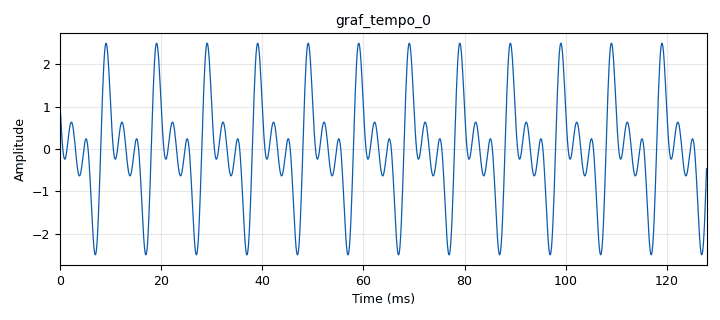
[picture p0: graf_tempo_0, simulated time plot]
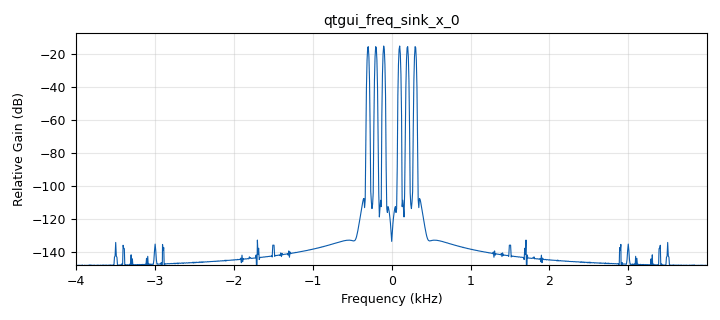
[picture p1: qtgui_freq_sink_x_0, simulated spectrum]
<?xml version='1.0' encoding='utf-8'?>
<?grc format='1' created='3.7.13'?>
<flow_graph>
<block>
<key>options</key>
<param><key>id</key><value>Labo1_2</value></param>
<param><key>author</key><value>Leocarlos Bezerra da Silva Lima</value></param>
<param><key>category</key><value>Custom</value></param>
<param><key>description</key><value>Experimento para Laboratório de Princípios de Comunicações. Departamento de Engenharia Elétrica - DEE da Universidade Federal de Campina Grande - UFCG.</value></param>
<param><key>generate_options</key><value>qt_gui</value></param>
<param><key>title</key><value>Geracao de sinal a partir de sua serie de Fourier</value></param>
</block>
<block>
<key>variable</key>
<param><key>id</key><value>samp_rate</value></param>
<param><key>value</key><value>8000</value></param>
</block>
<block>
<key>blocks_throttle</key>
<param><key>id</key><value>blocks_throttle_0</value></param>
<param><key>samples_per_second</key><value>samp_rate</value></param>
<param><key>type</key><value>float</value></param>
</block>
<block>
<key>analog_sig_source_x</key>
<param><key>id</key><value>fundamental</value></param>
<param><key>amp</key><value>1.0</value></param>
<param><key>freq</key><value>100</value></param>
<param><key>offset</key><value>0</value></param>
<param><key>type</key><value>float</value></param>
<param><key>samp_rate</key><value>samp_rate</value></param>
<param><key>waveform</key><value>analog.GR_SIN_WAVE</value></param>
</block>
<block>
<key>qtgui_time_sink_x</key>
<param><key>id</key><value>graf_tempo_0</value></param>
<param><key>autoscale</key><value>True</value></param>
<param><key>grid</key><value>True</value></param>
<param><key>color1</key><value>"blue"</value></param>
<param><key>label1</key><value></value></param>
<param><key>size</key><value>1024</value></param>
<param><key>srate</key><value>samp_rate</value></param>
<param><key>type</key><value>float</value></param>
</block>
<block>
<key>analog_sig_source_x</key>
<param><key>id</key><value>harmonica_1</value></param>
<param><key>amp</key><value>1.0</value></param>
<param><key>freq</key><value>200</value></param>
<param><key>offset</key><value>0</value></param>
<param><key>type</key><value>float</value></param>
<param><key>samp_rate</key><value>samp_rate</value></param>
<param><key>waveform</key><value>analog.GR_SIN_WAVE</value></param>
</block>
<block>
<key>analog_sig_source_x</key>
<param><key>id</key><value>harmonica_2</value></param>
<param><key>amp</key><value>1.0</value></param>
<param><key>freq</key><value>300</value></param>
<param><key>offset</key><value>0</value></param>
<param><key>type</key><value>float</value></param>
<param><key>samp_rate</key><value>samp_rate</value></param>
<param><key>waveform</key><value>analog.GR_SIN_WAVE</value></param>
</block>
<block>
<key>qtgui_freq_sink_x</key>
<param><key>id</key><value>qtgui_freq_sink_x_0</value></param>
<param><key>autoscale</key><value>True</value></param>
<param><key>bw</key><value>samp_rate</value></param>
<param><key>fc</key><value>0</value></param>
<param><key>fftsize</key><value>1024</value></param>
<param><key>grid</key><value>True</value></param>
<param><key>showports</key><value>True</value></param>
<param><key>type</key><value>float</value></param>
<param><key>wintype</key><value>firdes.WIN_BLACKMAN_hARRIS</value></param>
</block>
<block>
<key>blocks_add_xx</key>
<param><key>id</key><value>somador_0</value></param>
<param><key>type</key><value>float</value></param>
<param><key>num_inputs</key><value>3</value></param>
</block>
<connection><source_block_id>blocks_throttle_0</source_block_id><sink_block_id>somador_0</sink_block_id><source_key>0</source_key><sink_key>0</sink_key></connection>
<connection><source_block_id>fundamental</source_block_id><sink_block_id>blocks_throttle_0</sink_block_id><source_key>0</source_key><sink_key>0</sink_key></connection>
<connection><source_block_id>harmonica_1</source_block_id><sink_block_id>somador_0</sink_block_id><source_key>0</source_key><sink_key>1</sink_key></connection>
<connection><source_block_id>harmonica_2</source_block_id><sink_block_id>somador_0</sink_block_id><source_key>0</source_key><sink_key>2</sink_key></connection>
<connection><source_block_id>somador_0</source_block_id><sink_block_id>graf_tempo_0</sink_block_id><source_key>0</source_key><sink_key>0</sink_key></connection>
<connection><source_block_id>somador_0</source_block_id><sink_block_id>qtgui_freq_sink_x_0</sink_block_id><source_key>0</source_key><sink_key>0</sink_key></connection>
</flow_graph>
